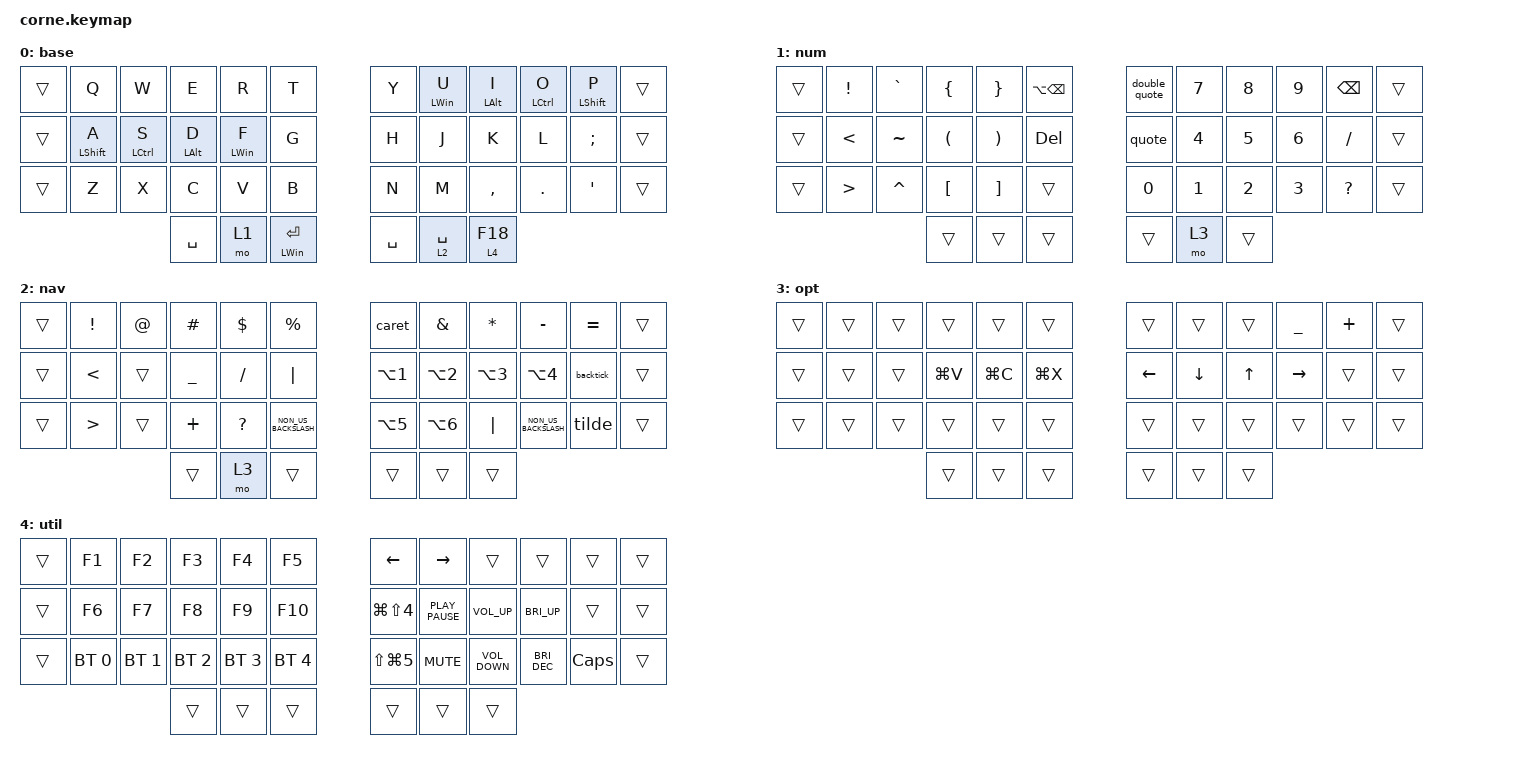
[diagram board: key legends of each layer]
/*
 * Copyright (c) 2020 The ZMK Contributors
 *
 * SPDX-License-Identifier: MIT
 */

#include <behaviors.dtsi>
#include <dt-bindings/zmk/bt.h>
#include <dt-bindings/zmk/keys.h>

/ {
    combos {
        compatible = "zmk,combos";

        escape {
            bindings = <&kp ESCAPE>;
            key-positions = <16 17>;
            timeout-ms = <50>;
            layers = <0>;
        };

        tab {
            bindings = <&kp TAB>;
            key-positions = <1 2>;
            timeout-ms = <50>;
            layers = <0>;
        };

        tmux_leader {
            bindings = <&kp LC(A)>;
            key-positions = <12 13>;
            timeout-ms = <50>;
            layers = <0>;
        };

        bt_reset {
            bindings = <&bt BT_CLR>;
            key-positions = <20 21 28 29>;
            require-prior-idle-ms = <200>;
            timeout-ms = <50>;
            layers = <0>;
        };
    };

    behaviors {
        hmr: hmr {
            compatible = "zmk,behavior-hold-tap";
            label = "HMR";
            bindings = <&kp>, <&kp>;

            #binding-cells = <2>;
            tapping-term-ms = <200>;
            quick-tap-ms = <175>;
            flavor = "balanced";
            hold-trigger-on-release;
        };

        hml: hml {
            compatible = "zmk,behavior-hold-tap";
            label = "HML";
            bindings = <&kp>, <&kp>;

            #binding-cells = <2>;
            tapping-term-ms = <200>;
            quick-tap-ms = <175>;
            flavor = "balanced";
            hold-trigger-on-release;
        };

        thumb_layer: thumb_layer {
            compatible = "zmk,behavior-hold-tap";
            label = "THUMB_LAYER";
            bindings = <&mo>, <&kp>;

            #binding-cells = <2>;
            tapping-term-ms = <280>;
            quick-tap-ms = <175>;
            flavor = "balanced";
            hold-trigger-on-release;
            hold-trigger-key-positions = <0 1 2 3 4 5 6 7 8 9 10 11 12 13 14 15 16 17 18 19 20 21 22 23 24 25 26 27 28 29 30 31 32 33 34 35 36 37 38 39 40 41>;
        };

        thumb_modifier: thumb_modifier {
            compatible = "zmk,behavior-hold-tap";
            label = "THUMB_MODIFIER";
            bindings = <&kp>, <&kp>;

            #binding-cells = <2>;
            tapping-term-ms = <280>;
            quick-tap-ms = <175>;
            flavor = "balanced";
            hold-trigger-on-release;
            hold-trigger-key-positions = <0 1 2 4 5 6 7 9 10 11 12 13 14 15 16 17 18 19 20 21 22 23 24 25 26 27 28 29 30 31 32 33 34 35 36 37 38 39 40 41 8 3>;
        };
    };

    macros {
        quote: quote {
            compatible = "zmk,behavior-macro";
            #binding-cells = <0>;
            bindings = <&kp SINGLE_QUOTE &kp SPACE>;
            label = "QUOTE";
        };

        double_quote: double_quote {
            compatible = "zmk,behavior-macro";
            #binding-cells = <0>;
            bindings = <&kp DOUBLE_QUOTES &kp SPACE>;
            label = "DOUBLE_QUOTE";
        };

        tilde: tilde {
            compatible = "zmk,behavior-macro";
            #binding-cells = <0>;
            bindings = <&kp TILDE &kp SPACE>;
            label = "TILDE";
        };

        backtick: backtick {
            compatible = "zmk,behavior-macro";
            #binding-cells = <0>;
            bindings = <&kp GRAVE &kp SPACE>;
            label = "BACKTICK";
        };

        caret: caret {
            compatible = "zmk,behavior-macro";
            #binding-cells = <0>;
            bindings = <&kp CARET &kp SPACE>;
            label = "CARET";
        };
    };

    keymap {
        compatible = "zmk,keymap";

        base {
            // -----------------------------------------------------------------------------------------
            // |  TAB |  Q  |  W  |  E  |  R  |  T  |   |  Y  |  U   |  I  |  O  |  P  | BKSP |
            // | CTRL |  A  |  S  |  D  |  F  |  G  |   |  H  |  J   |  K  |  L  |  ;  |  '   |
            // | SHFT |  Z  |  X  |  C  |  V  |  B  |   |  N  |  M   |  ,  |  .  |  /  | ESC  |
            //                    | GUI | LWR | SPC |   | ENT | RSE  | ALT |

            bindings = <
&trans  &kp Q          &kp W         &kp E        &kp R        &kp T                          &kp Y      &hmr LWIN U           &hmr LALT I         &hmr LCTRL O  &hmr LSHIFT P  &trans
&trans  &hml LSHIFT A  &hml LCTRL S  &hml LALT D  &hml LWIN F  &kp G                          &kp H      &kp J                 &kp K               &kp L         &kp SEMI       &trans
&trans  &kp Z          &kp X         &kp C        &kp V        &kp B                          &kp N      &kp M                 &kp COMMA           &kp DOT       &kp SQT        &trans
                                     &kp SPACE    &mo 1        &thumb_modifier LWIN RETURN    &kp SPACE  &thumb_layer 2 SPACE  &thumb_layer 4 F18
            >;

            label = "base";
        };

        num {
            // -----------------------------------------------------------------------------------------
            // |  TAB |  1  |  2  |  3  |  4  |  5  |   |  6  |  7  |  8  |  9  |  0  | BKSP |
            // | BTCLR| BT1 | BT2 | BT3 | BT4 | BT5 |   | LFT | DWN |  UP | RGT |     |      |
            // | SHFT |     |     |     |     |     |   |     |     |     |     |     |      |
            //                    | GUI |     | SPC |   | ENT |     | ALT |

            bindings = <
&trans  &kp EXCLAMATION   &kp GRAVE  &kp LEFT_BRACE        &kp RIGHT_BRACE        &kp LA(BACKSPACE)    &double_quote  &kp N7        &kp N8        &kp N9        &kp BACKSPACE  &trans
&trans  &kp LESS_THAN     &kp TILDE  &kp LEFT_PARENTHESIS  &kp RIGHT_PARENTHESIS  &kp DELETE           &quote         &kp NUMBER_4  &kp N5        &kp NUMBER_6  &kp SLASH      &trans
&trans  &kp GREATER_THAN  &kp CARET  &kp LEFT_BRACKET      &kp RIGHT_BRACKET      &trans               &kp N0         &kp NUMBER_1  &kp NUMBER_2  &kp NUMBER_3  &kp QUESTION   &trans
                                     &trans                &trans                 &trans               &trans         &mo 3         &trans
            >;

            label = "num";
        };

        nav {
            // -----------------------------------------------------------------------------------------
            // |  TAB |  !  |  @  |  #  |  $  |  %  |   |  ^  |  &  |  *  |  (  |  )  | BKSP |
            // | CTRL |     |     |     |     |     |   |  -  |  =  |  [  |  ]  |  \  |  `   |
            // | SHFT |     |     |     |     |     |   |  _  |  +  |  {  |  }  | "|" |  ~   |
            //                    | GUI |     | SPC |   | ENT |     | ALT |

            bindings = <
&trans  &kp EXCL          &kp AT  &kp HASH        &kp DLLR      &kp PRCNT               &caret            &kp AMPS          &kp ASTERISK      &kp MINUS             &kp EQUAL  &trans
&trans  &kp LESS_THAN     &trans  &kp UNDERSCORE  &kp SLASH     &kp PIPE                &kp LA(NUMBER_1)  &kp LA(NUMBER_2)  &kp LA(NUMBER_3)  &kp LA(NUMBER_4)      &backtick  &trans
&trans  &kp GREATER_THAN  &trans  &kp PLUS        &kp QUESTION  &kp NON_US_BACKSLASH    &kp LA(N5)        &kp LA(NUMBER_6)  &kp PIPE          &kp NON_US_BACKSLASH  &tilde     &trans
                                  &trans          &mo 3         &trans                  &trans            &trans            &trans
            >;

            label = "nav";
        };

        opt {
            bindings = <
&trans  &trans  &trans  &trans     &trans     &trans       &trans          &trans          &trans        &kp UNDERSCORE  &kp PLUS  &trans
&trans  &trans  &trans  &kp LG(V)  &kp LG(C)  &kp LG(X)    &kp LEFT_ARROW  &kp DOWN_ARROW  &kp UP_ARROW  &kp RIGHT       &trans    &trans
&trans  &trans  &trans  &trans     &trans     &trans       &trans          &trans          &trans        &trans          &trans    &trans
                        &trans     &trans     &trans       &trans          &trans          &trans
            >;

            label = "opt";
        };

        util {
            bindings = <
&trans  &kp F1        &kp F2        &kp F3        &kp F4        &kp F5          &kp LEFT              &kp RIGHT         &trans             &trans         &trans    &trans
&trans  &kp F6        &kp F7        &kp F8        &kp F9        &kp F10         &kp LG(LS(NUMBER_4))  &kp K_PLAY_PAUSE  &kp C_VOLUME_UP    &kp C_BRI_UP   &trans    &trans
&trans  &bt BT_SEL 0  &bt BT_SEL 1  &bt BT_SEL 2  &bt BT_SEL 3  &bt BT_SEL 4    &kp LS(LG(N5))        &kp K_MUTE        &kp C_VOLUME_DOWN  &kp C_BRI_DEC  &kp CAPS  &trans
                                    &trans        &trans        &trans          &trans                &trans            &trans
            >;

            label = "util";
        };
    };
};
